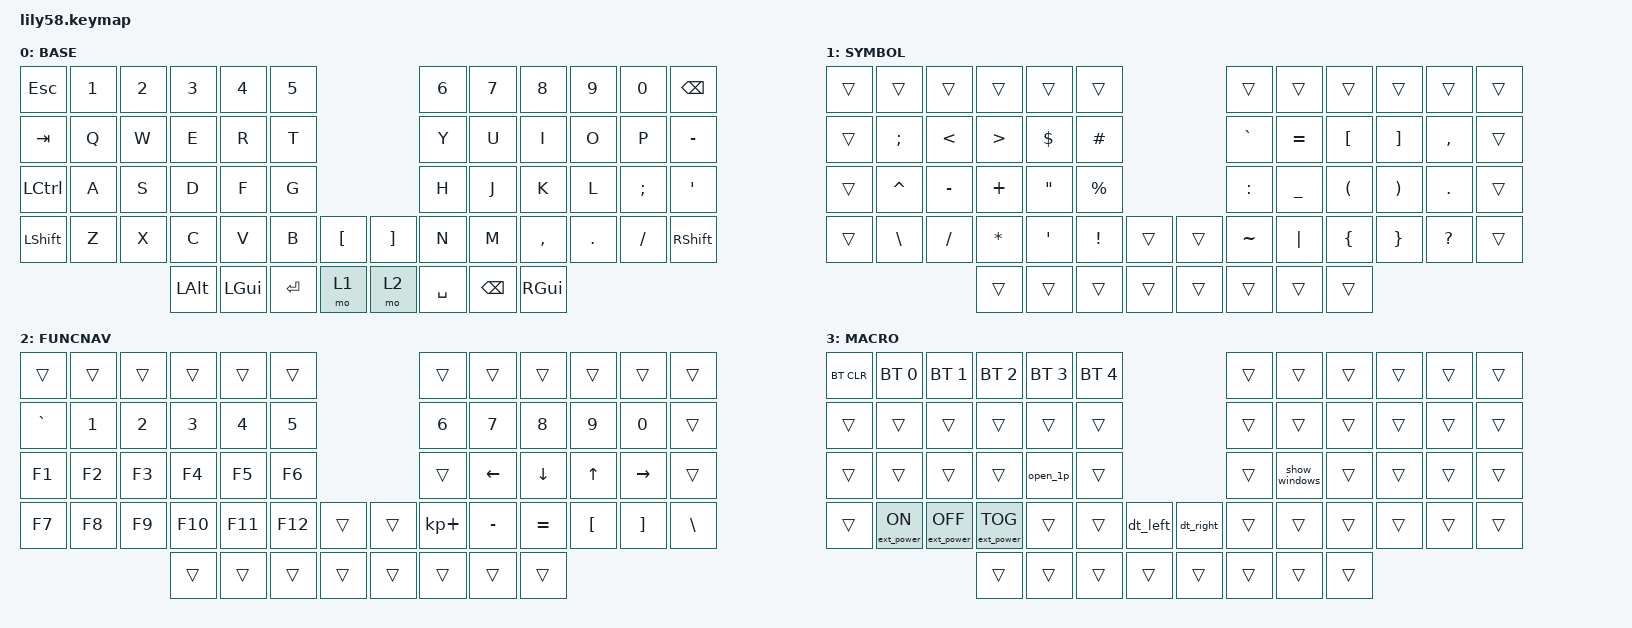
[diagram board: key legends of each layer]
/*
 * Copyright (c) 2020 The ZMK Contributors
 *
 * SPDX-License-Identifier: MIT
 */

#include <behaviors.dtsi>
#include <dt-bindings/zmk/bt.h>
#include <dt-bindings/zmk/ext_power.h>
#include <dt-bindings/zmk/keys.h>

/ {
    macros {
        dt_left: dt_left {
            compatible = "zmk,behavior-macro";
            #binding-cells = <0>;
            bindings = <&kp LC(LEFT)>;
            label = "DT_LEFT";
        };

        dt_right: dt_right {
            compatible = "zmk,behavior-macro";
            #binding-cells = <0>;
            bindings = <&kp LC(RIGHT)>;
            label = "DT_RIGHT";
        };

        open_1p: open_1p {
            compatible = "zmk,behavior-macro";
            #binding-cells = <0>;
            bindings = <&kp LG(LS(SPACE))>;
            label = "OPEN_1P";
        };

        show_windows: show_windows {
            compatible = "zmk,behavior-macro";
            #binding-cells = <0>;
            bindings = <&kp LC(UP_ARROW)>;
            label = "SHOW_WINDOWS";
        };
    };

    combos {
        compatible = "zmk,combos";

        delete {
            bindings = <&kp DELETE>;
            key-positions = <49 56>;
            layers = <0>;
        };
    };

    keymap {
        compatible = "zmk,keymap";

        default_layer {
            // ------------------------------------------------------------------------------------------------------------
            // |  ESC  |  1  |  2  |  3   |  4   |  5   |                   |  6   |  7    |  8    |  9   |   0   |   `   |
            // |  TAB  |  Q  |  W  |  E   |  R   |  T   |                   |  Y   |  U    |  I    |  O   |   P   |   -   |
            // |  CTRL |  A  |  S  |  D   |  F   |  G   |                   |  H   |  J    |  K    |  L   |   ;   |   '   |
            // | SHIFT |  Z  |  X  |  C   |  V   |  B   |   "["  |  |  "]"  |  N   |  M    |  ,    |  .   |   /   | SHIFT |
            //                     | ALT  | GUI  | LOWER|  SPACE |  | ENTER | RAISE| BSPC  | GUI   |

            bindings = <
&kp ESC           &kp N1  &kp N2  &kp N3    &kp N4    &kp N5                           &kp N6     &kp N7         &kp N8     &kp N9   &kp N0    &kp BACKSPACE
&kp TAB           &kp Q   &kp W   &kp E     &kp R     &kp T                            &kp Y      &kp U          &kp I      &kp O    &kp P     &kp MINUS
&kp LEFT_CONTROL  &kp A   &kp S   &kp D     &kp F     &kp G                            &kp H      &kp J          &kp K      &kp L    &kp SEMI  &kp SQT
&kp LSHFT         &kp Z   &kp X   &kp C     &kp V     &kp B      &kp LBKT    &kp RBKT  &kp N      &kp M          &kp COMMA  &kp DOT  &kp FSLH  &kp RSHFT
                                  &kp LALT  &kp LGUI  &kp ENTER  &mo 1       &mo 2     &kp SPACE  &kp BACKSPACE  &kp RGUI
            >;

            label = "BASE";
        };

        symbol_layer {
            // ------------------------------------------------------------------------------------------------------------
            // | BTCLR | BT1 | BT2 |  BT3 |  BT4 |  BT5 |                   |      |       |       |      |       |       |
            // |  F1   |  F2 |  F3 |  F4  |  F5  |  F6  |                   |  F7  |  F8   |  F9   |  F10 |  F11  |  F12  |
            // |   `   |  !  |  @  |  #   |  $   |  %   |                   |  ^   |  &    |  *    |  (   |   )   |   ~   |
            // |       |     |     |      |      |      |        |  |       |      |  _    |  +    |  {   |   }   |  "|"  |
            //                     |      |      |      |        |  |       |      |       |       |

            bindings = <
&trans  &trans         &trans         &trans            &trans             &trans                             &trans     &trans          &trans                &trans                 &trans        &trans
&trans  &kp SEMICOLON  &kp LESS_THAN  &kp GREATER_THAN  &kp DOLLAR         &kp HASH                           &kp GRAVE  &kp EQUAL       &kp LEFT_BRACKET      &kp RIGHT_BRACKET      &kp COMMA     &trans
&trans  &kp CARET      &kp MINUS      &kp PLUS          &kp DOUBLE_QUOTES  &kp PRCNT                          &kp COLON  &kp UNDERSCORE  &kp LEFT_PARENTHESIS  &kp RIGHT_PARENTHESIS  &kp PERIOD    &trans
&trans  &kp BACKSLASH  &kp SLASH      &kp ASTERISK      &kp SQT            &kp EXCLAMATION  &trans    &trans  &kp TILDE  &kp PIPE        &kp LEFT_BRACE        &kp RIGHT_BRACE        &kp QUESTION  &trans
                                      &trans            &trans             &trans           &trans    &trans  &trans     &trans          &trans
            >;

            label = "SYMBOL";
        };

        funcnav_layer {
            // ------------------------------------------------------------------------------------------------------------
            // |       |     |     |      |      |      |                   |      |       |       |      |       |       |
            // |   `   |  1  |  2  |  3   |  4   |  5   |                   |  6   |   7   |   8   |  9   |   0   |       |
            // |   F1  |  F2 |  F3 |  F4  |  F5  |  F6  |                   |      |   <-  |   v   |  ^   |  ->   |       |
            // |   F7  |  F8 |  F9 |  F10 |  F11 |  F12 |        |  |       |  +   |   -   |   =   |  [   |   ]   |   \   |
            //                     |      |      |      |        |  |       |      |       |       |

            bindings = <
&trans     &trans  &trans  &trans   &trans   &trans                     &trans       &trans     &trans     &trans    &trans     &trans
&kp GRAVE  &kp N1  &kp N2  &kp N3   &kp N4   &kp N5                     &kp N6       &kp N7     &kp N8     &kp N9    &kp N0     &trans
&kp F1     &kp F2  &kp F3  &kp F4   &kp F5   &kp F6                     &trans       &kp LEFT   &kp DOWN   &kp UP    &kp RIGHT  &trans
&kp F7     &kp F8  &kp F9  &kp F10  &kp F11  &kp F12  &trans    &trans  &kp KP_PLUS  &kp MINUS  &kp EQUAL  &kp LBKT  &kp RBKT   &kp BSLH
                           &trans   &trans   &trans   &trans    &trans  &trans       &trans     &trans
            >;

            label = "FUNCNAV";
        };

        macro_layer {
            bindings = <
&bt BT_CLR  &bt BT_SEL 0      &bt BT_SEL 1       &bt BT_SEL 2       &bt BT_SEL 3  &bt BT_SEL 4                         &trans  &trans         &trans  &trans  &trans  &trans
&trans      &trans            &trans             &trans             &trans        &trans                               &trans  &trans         &trans  &trans  &trans  &trans
&trans      &trans            &trans             &trans             &open_1p      &trans                               &trans  &show_windows  &trans  &trans  &trans  &trans
&trans      &ext_power EP_ON  &ext_power EP_OFF  &ext_power EP_TOG  &trans        &trans        &dt_left    &dt_right  &trans  &trans         &trans  &trans  &trans  &trans
                                                 &trans             &trans        &trans        &trans      &trans     &trans  &trans         &trans
            >;

            label = "MACRO";
        };
    };

    conditional_layers {
        compatible = "zmk,conditional-layers";

        to_macro {
            if-layers = <1 2>;
            then-layer = <3>;
        };
    };
};
